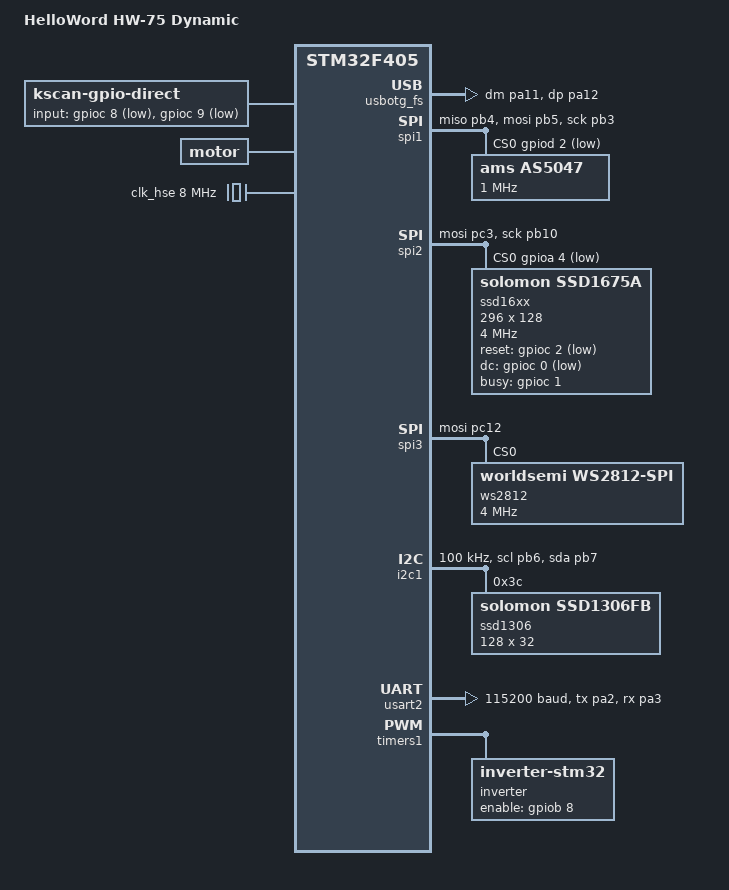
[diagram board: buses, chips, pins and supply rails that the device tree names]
/*
 * Copyright (c) 2022 The ZMK Contributors
 * SPDX-License-Identifier: MIT
 */

/dts-v1/;
#include <st/f4/stm32f405Xg.dtsi>
#include <st/f4/stm32f405rgtx-pinctrl.dtsi>
#include <dt-bindings/led/led.h>
#include <dt-bindings/zmk/matrix_transform.h>

/ {
	model = "HelloWord HW-75 Dynamic";
	compatible = "st,stm32f405";

	chosen {
		zephyr,code-partition = &code_partition;
		zephyr,sram = &sram0;
		zephyr,flash = &flash0;
		zephyr,ccm = &ccm0;
		zephyr,display = &oled;
		zmk,kscan = &kscan;
		zmk,underglow = &led_strip;
	};

	aliases {
		uart-comm = &slip;
		eink = &eink;
		knob = &knob;
	};

	oled: display-sw-rotate {
		compatible = "zmk,display-sw-rotate";
		width = <32>;
		height = <128>;
		display = <&ssd1306>;
	};

	eink: eink-sw-rotate {
		compatible = "zmk,display-sw-rotate";
		width = <128>;
		height = <296>;
		display = <&ssd16xx>;
		buffer-lines = <128>;
	};

	kscan: kscan {
		compatible = "zmk,kscan-gpio-direct";
		input-gpios =
			<&gpioc 8 GPIO_ACTIVE_LOW>,
			<&gpioc 9 GPIO_ACTIVE_LOW>;
	};

	led_strip: led-strip-remap {
		compatible = "zmk,led-strip-remap";

		chain-length = <4>;
		led-strip = <&ws2812>;
		map = <0 3 2 1>;

		status {
			label = "STATUS";
			led-indexes = <3 2 1>;
		};
	};

	sensors {
		compatible = "zmk,keymap-sensors";
		sensors = <&knob>;
	};

	knob: knob {
		compatible = "zmk,knob";
		label = "KNOB";
		motor = <&motor>;

		#address-cells = <1>;
		#size-cells = <0>;

		profile_disable: disable@0 {
			compatible = "zmk,knob-profile-disable";
			reg = <0>;
		};

		profile_inertia: inertia@1 {
			compatible = "zmk,knob-profile-inertia";
			reg = <1>;
			torque-limit-mv = <1500>;
			velocity-pid = <300 0 0>;
			angle-pid = <20000 0 700>;
		};

		profile_encoder: encoder@2 {
			compatible = "zmk,knob-profile-encoder";
			reg = <2>;
			torque-limit-mv = <300>;
			velocity-pid = <20 0 0>;
			angle-pid = <100000 0 3500>;
		};

		profile_spring: spring@3 {
			compatible = "zmk,knob-profile-spring";
			reg = <3>;
			torque-limit-mv = <1500>;
			velocity-pid = <50 0 0>;
			angle-pid = <100000 0 3500>;
			minimal-movement-deg = <20>;
		};

		profile_damped: damped@4 {
			compatible = "zmk,knob-profile-damped";
			reg = <4>;
			torque-limit-mv = <1500>;
			velocity-pid = <50 0 0>;
			angle-pid = <100000 0 3500>;
		};

		profile_spin: spin@5 {
			compatible = "zmk,knob-profile-spin";
			reg = <5>;
			torque-limit-mv = <1500>;
			velocity-pid = <300 0 0>;
		};

		profile_ratchet: ratchet@6 {
			compatible = "zmk,knob-profile-ratchet";
			reg = <6>;
			torque-limit-mv = <2500>;
			velocity-pid = <50 0 0>;
			angle-pid = <100000 0 3500>;
		};

		profile_switch: switch@7 {
			compatible = "zmk,knob-profile-switch";
			reg = <7>;
			torque-limit-mv = <1500>;
			velocity-pid = <50 0 0>;
			angle-pid = <100000 0 3500>;
			on-off-distance-deg = <80>;
		};
	};

	motor: motor {
		compatible = "zmk,motor";
		inverter = <&inverter>;
		encoder = <&as5047>;
	};

	slip: slip {
		compatible = "zmk,uart-slip";
		uart = <&usart2>;
	};
};

&clk_hse {
	clock-frequency = <DT_FREQ_M(8)>;
	status = "okay";
};

&pll {
	div-m = <4>;
	mul-n = <168>;
	div-p = <2>;
	div-q = <7>;
	clocks = <&clk_hse>;
	status = "okay";
};

&rcc {
	clocks = <&pll>;
	clock-frequency = <DT_FREQ_M(168)>;
	ahb-prescaler = <1>;
	apb1-prescaler = <4>;
	apb2-prescaler = <2>;
};

&usbotg_fs {
	pinctrl-0 = <&usb_otg_fs_dm_pa11 &usb_otg_fs_dp_pa12>;
	pinctrl-names = "default";
	status = "okay";
};

&spi1 {
	pinctrl-0 = <&spi1_miso_pb4 &spi1_mosi_pb5 &spi1_sck_pb3>;
	pinctrl-names = "default";
	status = "okay";

	cs-gpios = <&gpiod 2 GPIO_ACTIVE_LOW>;

	as5047: as5047@0 {
		compatible = "ams,as5047";

		reg = <0>;
		spi-max-frequency = <1000000>;

		cs-delay-us = <350>;
		init-delay-us = <10000>;
	};
};

&spi2 {
	pinctrl-0 = <&spi2_mosi_pc3 &spi2_sck_pb10>;
	pinctrl-names = "default";
	status = "okay";

	cs-gpios = <&gpioa 4 GPIO_ACTIVE_LOW>;

	ssd16xx: ssd16xx@0 {
		compatible = "solomon,ssd1675a";

		reg = <0>;
		spi-max-frequency = <4000000>;

		width = <296>;
		height = <128>;

		reset-gpios = <&gpioc 2 GPIO_ACTIVE_LOW>;
		dc-gpios = <&gpioc 0 GPIO_ACTIVE_LOW>;
		busy-gpios = <&gpioc 1 GPIO_ACTIVE_HIGH>;

		full {
			/* VGH = 19V */
			gdv = [15];

			/* VSH1 = 15V, VSH2 = 5V, VSL = -15V */
			sdv = [41 a8 32];

			/* VDB = LUT3 */
			border-waveform = <0x03>;

			/* 128x296, 50Hz */
			dummy-line = <0x30>;
			gate-line-width = <0x0a>;
		};
	};
};

&spi3 {
	pinctrl-0 = <&spi3_mosi_pc12>;
	pinctrl-names = "default";
	status = "okay";

	ws2812: ws2812@0 {
		compatible = "worldsemi,ws2812-spi";

		reg = <0>;
		spi-max-frequency = <4000000>;

		chain-length = <4>;
		spi-one-frame = <0x70>;
		spi-zero-frame = <0x40>;
		color-mapping = <LED_COLOR_ID_GREEN LED_COLOR_ID_RED LED_COLOR_ID_BLUE>;
	};
};

&i2c1 {
	pinctrl-0 = <&i2c1_scl_pb6 &i2c1_sda_pb7>;
	pinctrl-names = "default";
	status = "okay";

	clock-frequency = <100000>;

	ssd1306: ssd1306@3c {
		compatible = "solomon,ssd1306fb";

		reg = <0x3C>;

		width = <128>;
		height = <32>;

		segment-offset = <2>;
		page-offset = <0>;
		display-offset = <16>;
		multiplex-ratio = <31>;
		segment-remap;
		com-invdir;
		prechargep = <0xf1>;
	};
};

&usart2 {
	pinctrl-0 = <&usart2_tx_pa2 &usart2_rx_pa3>;
	pinctrl-names = "default";
	status = "okay";
	current-speed = <115200>;
};

&timers1 {
	status = "okay";

	pwm {
		pinctrl-0 = <
			&tim1_ch1_pa8
			&tim1_ch2_pa9
			&tim1_ch3_pa10
			&tim1_ch1n_pb13
			&tim1_ch2n_pb0
			&tim1_ch3n_pb1
		>;
		pinctrl-names = "default";
		status = "okay";
	};

	inverter: inverter {
		compatible = "zmk,inverter-stm32";
		enable-gpios = <&gpiob 8 GPIO_ACTIVE_HIGH>;
		pwm-period = <4199>;
		pwm-channels = <1 2 3>;
	};
};

&flash0 {
	partitions {
		compatible = "fixed-partitions";
		#address-cells = <1>;
		#size-cells = <1>;

		bootloader_partition: partition@0 {
			label = "bootloader";
			reg = <0x00000000 DT_SIZE_K(32)>;
		};

		storage_partition: partition@8000 {
			label = "storage";
			reg = <0x00008000 DT_SIZE_K(32)>;
		};

		code_partition: partition@10000 {
			label = "code_partition";
			reg = <0x00010000 DT_SIZE_K(320)>;
		};
	};
};
